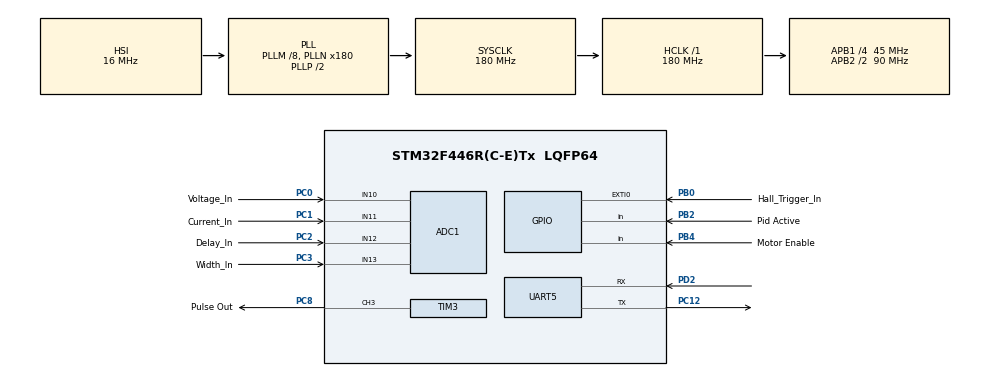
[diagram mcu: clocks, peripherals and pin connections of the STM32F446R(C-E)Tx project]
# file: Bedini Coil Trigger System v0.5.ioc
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ADC1.Channel-0\#ChannelRegularConversion=ADC_CHANNEL_10
ADC1.Channel-1\#ChannelRegularConversion=ADC_CHANNEL_11
ADC1.Channel-2\#ChannelRegularConversion=ADC_CHANNEL_12
ADC1.Channel-3\#ChannelRegularConversion=ADC_CHANNEL_13
ADC1.ContinuousConvMode=DISABLE
ADC1.NbrOfConversion=4
ADC1.NbrOfConversionFlag=1
ADC1.Rank-0\#ChannelRegularConversion=1
ADC1.Rank-1\#ChannelRegularConversion=2
ADC1.Rank-2\#ChannelRegularConversion=3
ADC1.Rank-3\#ChannelRegularConversion=4
ADC1.SamplingTime-0\#ChannelRegularConversion=ADC_SAMPLETIME_112CYCLES
ADC1.SamplingTime-1\#ChannelRegularConversion=ADC_SAMPLETIME_84CYCLES
ADC1.SamplingTime-2\#ChannelRegularConversion=ADC_SAMPLETIME_84CYCLES
ADC1.SamplingTime-3\#ChannelRegularConversion=ADC_SAMPLETIME_84CYCLES
ADC1.ScanConvMode=ENABLE
ADC1.master=1
Dma.ADC1.0.Direction=DMA_PERIPH_TO_MEMORY
Dma.ADC1.0.FIFOMode=DMA_FIFOMODE_DISABLE
Dma.ADC1.0.Instance=DMA2_Stream0
Dma.ADC1.0.MemDataAlignment=DMA_MDATAALIGN_WORD
Dma.ADC1.0.MemInc=DMA_MINC_ENABLE
Dma.ADC1.0.Mode=DMA_CIRCULAR
Dma.ADC1.0.PeriphDataAlignment=DMA_PDATAALIGN_WORD
Dma.ADC1.0.PeriphInc=DMA_PINC_DISABLE
Dma.ADC1.0.Priority=DMA_PRIORITY_MEDIUM
Dma.Request0=ADC1
Mcu.Family=STM32F4
Mcu.Name=STM32F446R(C-E)Tx
Mcu.Package=LQFP64
NVIC.DMA2_Stream0_IRQn=true\:0\:0\:true\:false\:true\:false\:true\:true
NVIC.EXTI0_IRQn=true\:0\:0\:true\:false\:true\:true\:true\:true
NVIC.PriorityGroup=NVIC_PRIORITYGROUP_4
NVIC.TIM2_IRQn=true\:0\:0\:false\:false\:true\:true\:true\:true
NVIC.TIM3_IRQn=true\:0\:0\:false\:false\:true\:true\:true\:true
NVIC.UART5_IRQn=true\:0\:0\:true\:false\:true\:true\:true\:true
PB0.GPIO_Label=Hall_Trigger_In
PB0.GPIO_ModeDefaultEXTI=GPIO_MODE_IT_RISING
PB0.GPIO_PuPd=GPIO_NOPULL
PB0.Signal=GPXTI0
PB2.GPIO_Label=Pid Active
PB2.GPIO_PuPd=GPIO_PULLUP
PB2.Signal=GPIO_Input
PB4.GPIO_Label=Motor Enable
PB4.GPIO_PuPd=GPIO_PULLUP
PB4.Signal=GPIO_Input
PC0.GPIO_Label=Voltage_In
PC0.Signal=ADCx_IN10
PC1.GPIO_Label=Current_In
PC1.Signal=ADCx_IN11
PC12.Mode=Asynchronous
PC12.Signal=UART5_TX
PC2.GPIO_Label=Delay_In
PC2.Signal=ADCx_IN12
PC3.GPIO_Label=Width_In
PC3.Signal=ADCx_IN13
PC8.GPIO_Label=Pulse Out
PC8.GPIO_Speed=GPIO_SPEED_FREQ_VERY_HIGH
PC8.Signal=S_TIM3_CH3
PD2.Mode=Asynchronous
PD2.Signal=UART5_RX
ProjectManager.HeapSize=0x200
ProjectManager.StackSize=0x400
ProjectManager.TargetToolchain=MDK-ARM V5.32
RCC.AHBFreq_Value=180000000
RCC.APB1CLKDivider=RCC_HCLK_DIV4
RCC.APB1Freq_Value=45000000
RCC.APB1TimFreq_Value=90000000
RCC.APB2CLKDivider=RCC_HCLK_DIV2
RCC.APB2Freq_Value=90000000
RCC.APB2TimFreq_Value=180000000
RCC.CortexFreq_Value=180000000
RCC.HCLKFreq_Value=180000000
RCC.PLLM=8
RCC.PLLN=180
RCC.SYSCLKFreq_VALUE=180000000
RCC.SYSCLKSource=RCC_SYSCLKSOURCE_PLLCLK
RCC.USBFreq_Value=180000000
RCC.VCOOutputFreq_Value=360000000
SH.ADCx_IN10.0=ADC1_IN10,IN10
SH.ADCx_IN10.1=ADC2_IN10
SH.ADCx_IN11.0=ADC2_IN11
SH.ADCx_IN11.1=ADC1_IN11,IN11
SH.ADCx_IN12.0=ADC2_IN12
SH.ADCx_IN12.1=ADC1_IN12,IN12
SH.ADCx_IN13.0=ADC2_IN13
SH.ADCx_IN13.1=ADC1_IN13,IN13
SH.S_TIM3_CH3.0=TIM3_CH3,PWM Generation3 CH3
TIM2.Channel-Output\ Compare1\ No\ Output=TIM_CHANNEL_1
TIM2.OCMode_1=TIM_OCMODE_ACTIVE
TIM2.Period=4294967
TIM2.Prescaler=180-1
TIM2.TIM_MasterOutputTrigger=TIM_TRGO_OC1
TIM2.TIM_MasterSlaveMode=TIM_MASTERSLAVEMODE_ENABLE
TIM3.Channel-PWM\ Generation3\ CH3=TIM_CHANNEL_3
TIM3.OCPolarity_3=TIM_OCPOLARITY_LOW
TIM3.Period=10
TIM3.Prescaler=180-1
TIM3.Pulse-PWM\ Generation3\ CH3=1
UART5.VirtualMode=Asynchronous
VP_TIM2_VS_ClockSourceINT.Mode=Internal
VP_TIM2_VS_OPM.Mode=OPM_bit
VP_TIM2_VS_no_output1.Mode=Output Compare1 No Output
VP_TIM3_VS_ClockSourceINT.Mode=Internal
VP_TIM3_VS_ClockSourceITR.Mode=TriggerSource_ITR0
VP_TIM3_VS_ControllerModeTrigger.Mode=Trigger Mode
VP_TIM3_VS_OPM.Mode=OPM_bit
board=custom

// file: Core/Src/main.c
/* USER CODE BEGIN Header */
	/**
		******************************************************************************
		* @file           : main.c
		* @brief          : Main program body
		******************************************************************************
		* @attention
		*
		* Copyright (c) 2022 STMicroelectronics.
		* All rights reserved.
		*
		* This software is licensed under terms that can be found in the LICENSE file
		* in the root directory of this software component.
		* If no LICENSE file comes with this software, it is provided AS-IS.
		*
		******************************************************************************
		*/
/* USER CODE END Header */
#include "main.h"

/* USER CODE BEGIN Includes */
	#include <stdlib.h>

/* USER CODE END Includes */

ADC_HandleTypeDef hadc1;
DMA_HandleTypeDef hdma_adc1;

TIM_HandleTypeDef htim2;
TIM_HandleTypeDef htim3;

UART_HandleTypeDef huart5;

/* USER CODE BEGIN PV */
	// Calculation Settings
	const float voltageR1 = 100000.0;
	const float voltageR2 = 5656.0;
	const uint32_t MAX_BATTERY_VOLTAGE = ((((voltageR1 + voltageR2) / voltageR2) * 3.3) * 100.0); // ~3.3 volt = (100k -> 5k) = resolution of ~mV
	const uint32_t MAX_BATTERY_CURRENT = 1000000; // to be calculated in uA
	const uint32_t MAX_PULSE_DELAY = 5000; // some value making 1 = 1 uS
	const uint32_t MAX_PULSE_WIDTH = 5000; // some value making 1 = 1 uS
	const uint32_t STEP_MULTIPLIER_DELAY = 1;
	const uint32_t STEP_MULTIPLIER_WIDTH = 1;

	// Pulse motor settings
	const int MAGNETS_ON_ROTOR = 10;
	volatile uint32_t rpmSetPulse = 1500;
	volatile int modeWidthPulse = 0;
	volatile int modeDelayPulse = 0;

	int bandwidthPid = 10;

	//PID constants
	double kp = 10.0;
	double ki = 0.0001;
	double kd = 3.0;

	float error;
	float lastError;
	float cumError, rateError;

	int PID_MIN = 1;
	int PID_MAX = 150;

	uint32_t ANALOG_CYCLE_COUNTER = 1000;

	// Analog Inputs
	const int SHIFT_ARRAY = 20;
	const int VOLTAGE_SHIFT = 5;
	const int CURRENT_SHIFT = 5;
	const int DELAY_SHIFT = 20;
	const int WIDTH_SHIFT = 20;
	volatile uint32_t analogInputs[4];
	volatile uint32_t analogInAvg[SHIFT_ARRAY][4];
	const int analogChCounts = sizeof ( analogInputs) / sizeof (analogInputs[0]);
	volatile int analogConvComplete = 0;
	uint32_t prevTimerAnalogCount;

	// Proram Vars
	volatile uint32_t	multiplierPid;
	volatile uint32_t delayPulse = 0;
	volatile uint32_t widthPulse = 0;
	int MAX_COMPARE_PULSE = 10;
	const int MAXSET_COMPARE_PULSE = 20;
	volatile uint32_t comparePulse[MAXSET_COMPARE_PULSE];
	volatile uint32_t comparePulseAvg;
	volatile uint32_t rpmPulse = 0;
	volatile int multiplierPulse = 100;
	volatile uint32_t voltageAvgCalc;
	volatile uint32_t currentAvgCalc;
	volatile uint32_t delayAvgCalc;
	volatile uint32_t widthAvgCalc;
	volatile uint32_t voltageAvg;
	volatile uint32_t currentAvg;
	volatile uint32_t delayAvg;
	volatile uint32_t widthAvg;
	volatile uint32_t voltageBattery = 0;
	volatile uint32_t currentBattery = 0;
	volatile int pulseTrigger;
	volatile int motorRunState = 0;
	volatile uint32_t comparePulseAvgTemp;
	volatile uint32_t totalPulseTime;

	const uint32_t DATA_CYCLE_COUNTER = 500;

	// uart data stuf
	uint32_t dataCounter;
	uint8_t data1[8];
	uint32_t prevTimerDataCount;
	uint8_t Rx_data[16];
	uint8_t dataCommand;

	// Serial vars
	int SerialEnable;
	int enablePulseSerial;
	int analogValueMode;
	int modeWidthPulseSerial;
	int modeDelayPulseSerial;
	uint32_t pulseWidthSerial;
	uint32_t delayPulseSerial;

	int pidEnabledSerial;
	uint32_t pidProportionalSerial;
	uint32_t pidIntegralSerial;
	uint32_t pidDerevitiveSerial;
	double pidSetProportionalSerial;
	double pidSetIntegralSerial;
	double pidSetDerevitiveSerial;
	uint32_t minTunePidSerial;
	uint32_t maxTunePidSerial;
	uint32_t rpmPulseSerial;

/* USER CODE END PV */

void SystemClock_Config(void);
static void MX_GPIO_Init(void);
static void MX_DMA_Init(void);
static void MX_ADC1_Init(void);
static void MX_UART5_Init(void);
static void MX_TIM3_Init(void);
static void MX_TIM2_Init(void);
/* USER CODE BEGIN PFP */

		void runPID(void);

	void handleMotorRunstate(void);
	void readAnalogConversion(void);
		void readBusConversion(void);
	void uartDataReceive(void);
	void uartDataTransmit(void);
/* USER CODE END PFP */

int main(void)
{

  /* MCU Configuration--------------------------------------------------------*/

  /* Reset of all peripherals, Initializes the Flash interface and the Systick. */
  HAL_Init();

  /* Configure the system clock */
  SystemClock_Config();

  /* Initialize all configured peripherals */
  MX_GPIO_Init();
  MX_DMA_Init();
  MX_ADC1_Init();
  MX_UART5_Init();
  MX_TIM3_Init();
  MX_TIM2_Init();
  /* USER CODE BEGIN 2 */
		// Init reference timer
		HAL_TIM_Base_Start(&htim2);
		// Init uart receive interrupt
		HAL_UART_Receive_IT (&huart5, Rx_data, 15);

		// start a adc poll
		HAL_ADC_Start_DMA(&hadc1, (uint32_t*) analogInputs, analogChCounts);
  /* USER CODE END 2 */

  /* Infinite loop */
		while (1)
		{

    /* USER CODE BEGIN 3 */
			// check if motor is enabled and the motor is in running state
			if(((!(GPIOB->IDR &(1<<4)) && (analogValueMode == 0x00)) || ((analogValueMode == 0x01) && (enablePulseSerial == 0x01))) && (motorRunState == 2)){

				// check if the pulse has passed
				if(pulseTrigger == 2){

					// take 2 pulses and calculate average
					for(int i = (MAX_COMPARE_PULSE - 1); i >= 0; i--){
						comparePulse[i] = comparePulse[(i-1)];
					}

					// save new pulse time
					comparePulse[0] = totalPulseTime;

					//reset pulse avarage
					comparePulseAvgTemp = 0;

					// count all values up
					for(int i = 0; i < (MAX_COMPARE_PULSE); i++){
						comparePulseAvgTemp += comparePulse[i];
					}

					// calculate pulse avarage and rpm if > 0
					if (comparePulseAvgTemp > 0){
						comparePulseAvg = (float)comparePulseAvgTemp / (float)MAX_COMPARE_PULSE;
						rpmPulse = (((1000000.0 / (float)comparePulseAvg) * 60.0) / (float)MAGNETS_ON_ROTOR);
					}
					else{
						rpmPulse = 0;
					}

					// PID
					if(((!(GPIOB->IDR &(1<<2))) && (analogValueMode  == 0x00)) || ((analogValueMode == 0x01) && (pidEnabledSerial == 0x01))){
						runPID();
					}
					else{
						multiplierPid = 150;
					}

					// reset pulse state
					pulseTrigger = 0;
				}

			}

			// read analog, do pid, handle motor state ever x cyclus time
			if( /*pulseTrigger == 0 &&*/ (TIM2->CNT >= (prevTimerAnalogCount + ANALOG_CYCLE_COUNTER))){

				// set new cycle time
				prevTimerAnalogCount = TIM2->CNT;

				// Handle Analog Values
				if(analogConvComplete == 1){
					if(analogValueMode == 0x01){
						readBusConversion();
					}
					else{
						readAnalogConversion();
					}
				}
			}

			// check max timer value
			if((prevTimerAnalogCount > (comparePulse[0] - ANALOG_CYCLE_COUNTER)) || (prevTimerAnalogCount > (4294966 - ANALOG_CYCLE_COUNTER))){
				prevTimerAnalogCount = 0;
			}

			// Handle motor runstate
			handleMotorRunstate();

		}
  /* USER CODE END 3 */
}

void SystemClock_Config(void)
{
  RCC_OscInitTypeDef RCC_OscInitStruct = {0};
  RCC_ClkInitTypeDef RCC_ClkInitStruct = {0};

  /** Configure the main internal regulator output voltage
  */
  __HAL_RCC_PWR_CLK_ENABLE();
  __HAL_PWR_VOLTAGESCALING_CONFIG(PWR_REGULATOR_VOLTAGE_SCALE1);

  /** Initializes the RCC Oscillators according to the specified parameters
  * in the RCC_OscInitTypeDef structure.
  */
  RCC_OscInitStruct.OscillatorType = RCC_OSCILLATORTYPE_HSI;
  RCC_OscInitStruct.HSIState = RCC_HSI_ON;
  RCC_OscInitStruct.HSICalibrationValue = RCC_HSICALIBRATION_DEFAULT;
  RCC_OscInitStruct.PLL.PLLState = RCC_PLL_ON;
  RCC_OscInitStruct.PLL.PLLSource = RCC_PLLSOURCE_HSI;
  RCC_OscInitStruct.PLL.PLLM = 8;
  RCC_OscInitStruct.PLL.PLLN = 180;
  RCC_OscInitStruct.PLL.PLLP = RCC_PLLP_DIV2;
  RCC_OscInitStruct.PLL.PLLQ = 2;
  RCC_OscInitStruct.PLL.PLLR = 2;
  if (HAL_RCC_OscConfig(&RCC_OscInitStruct) != HAL_OK)
  {
    Error_Handler();
  }

  /** Activate the Over-Drive mode
  */
  if (HAL_PWREx_EnableOverDrive() != HAL_OK)
  {
    Error_Handler();
  }

  /** Initializes the CPU, AHB and APB buses clocks
  */
  RCC_ClkInitStruct.ClockType = RCC_CLOCKTYPE_HCLK|RCC_CLOCKTYPE_SYSCLK
                              |RCC_CLOCKTYPE_PCLK1|RCC_CLOCKTYPE_PCLK2;
  RCC_ClkInitStruct.SYSCLKSource = RCC_SYSCLKSOURCE_PLLCLK;
  RCC_ClkInitStruct.AHBCLKDivider = RCC_SYSCLK_DIV1;
  RCC_ClkInitStruct.APB1CLKDivider = RCC_HCLK_DIV4;
  RCC_ClkInitStruct.APB2CLKDivider = RCC_HCLK_DIV2;

  if (HAL_RCC_ClockConfig(&RCC_ClkInitStruct, FLASH_LATENCY_5) != HAL_OK)
  {
    Error_Handler();
  }
}

static void MX_ADC1_Init(void)
{

  ADC_ChannelConfTypeDef sConfig = {0};

  /** Configure the global features of the ADC (Clock, Resolution, Data Alignment and number of conversion)
  */
  hadc1.Instance = ADC1;
  hadc1.Init.ClockPrescaler = ADC_CLOCK_SYNC_PCLK_DIV4;
  hadc1.Init.Resolution = ADC_RESOLUTION_12B;
  hadc1.Init.ScanConvMode = ENABLE;
  hadc1.Init.ContinuousConvMode = DISABLE;
  hadc1.Init.DiscontinuousConvMode = DISABLE;
  hadc1.Init.ExternalTrigConvEdge = ADC_EXTERNALTRIGCONVEDGE_NONE;
  hadc1.Init.ExternalTrigConv = ADC_SOFTWARE_START;
  hadc1.Init.DataAlign = ADC_DATAALIGN_RIGHT;
  hadc1.Init.NbrOfConversion = 4;
  hadc1.Init.DMAContinuousRequests = DISABLE;
  hadc1.Init.EOCSelection = ADC_EOC_SINGLE_CONV;
  if (HAL_ADC_Init(&hadc1) != HAL_OK)
  {
    Error_Handler();
  }

  /** Configure for the selected ADC regular channel its corresponding rank in the sequencer and its sample time.
  */
  sConfig.Channel = ADC_CHANNEL_10;
  sConfig.Rank = 1;
  sConfig.SamplingTime = ADC_SAMPLETIME_112CYCLES;
  if (HAL_ADC_ConfigChannel(&hadc1, &sConfig) != HAL_OK)
  {
    Error_Handler();
  }

  /** Configure for the selected ADC regular channel its corresponding rank in the sequencer and its sample time.
  */
  sConfig.Channel = ADC_CHANNEL_11;
  sConfig.Rank = 2;
  sConfig.SamplingTime = ADC_SAMPLETIME_84CYCLES;
  if (HAL_ADC_ConfigChannel(&hadc1, &sConfig) != HAL_OK)
  {
    Error_Handler();
  }

  /** Configure for the selected ADC regular channel its corresponding rank in the sequencer and its sample time.
  */
  sConfig.Channel = ADC_CHANNEL_12;
  sConfig.Rank = 3;
  if (HAL_ADC_ConfigChannel(&hadc1, &sConfig) != HAL_OK)
  {
    Error_Handler();
  }

  /** Configure for the selected ADC regular channel its corresponding rank in the sequencer and its sample time.
  */
  sConfig.Channel = ADC_CHANNEL_13;
  sConfig.Rank = 4;
  if (HAL_ADC_ConfigChannel(&hadc1, &sConfig) != HAL_OK)
  {
    Error_Handler();
  }

}

static void MX_TIM2_Init(void)
{

  TIM_ClockConfigTypeDef sClockSourceConfig = {0};
  TIM_MasterConfigTypeDef sMasterConfig = {0};
  TIM_OC_InitTypeDef sConfigOC = {0};

  htim2.Instance = TIM2;
  htim2.Init.Prescaler = 180-1;
  htim2.Init.CounterMode = TIM_COUNTERMODE_UP;
  htim2.Init.Period = 4294967;
  htim2.Init.ClockDivision = TIM_CLOCKDIVISION_DIV1;
  htim2.Init.AutoReloadPreload = TIM_AUTORELOAD_PRELOAD_DISABLE;
  if (HAL_TIM_Base_Init(&htim2) != HAL_OK)
  {
    Error_Handler();
  }
  sClockSourceConfig.ClockSource = TIM_CLOCKSOURCE_INTERNAL;
  if (HAL_TIM_ConfigClockSource(&htim2, &sClockSourceConfig) != HAL_OK)
  {
    Error_Handler();
  }
  if (HAL_TIM_OC_Init(&htim2) != HAL_OK)
  {
    Error_Handler();
  }
  if (HAL_TIM_OnePulse_Init(&htim2, TIM_OPMODE_SINGLE) != HAL_OK)
  {
    Error_Handler();
  }
  sMasterConfig.MasterOutputTrigger = TIM_TRGO_OC1;
  sMasterConfig.MasterSlaveMode = TIM_MASTERSLAVEMODE_ENABLE;
  if (HAL_TIMEx_MasterConfigSynchronization(&htim2, &sMasterConfig) != HAL_OK)
  {
    Error_Handler();
  }
  sConfigOC.OCMode = TIM_OCMODE_ACTIVE;
  sConfigOC.Pulse = 0;
  sConfigOC.OCPolarity = TIM_OCPOLARITY_HIGH;
  sConfigOC.OCFastMode = TIM_OCFAST_DISABLE;
  if (HAL_TIM_OC_ConfigChannel(&htim2, &sConfigOC, TIM_CHANNEL_1) != HAL_OK)
  {
    Error_Handler();
  }

}

static void MX_TIM3_Init(void)
{

  TIM_ClockConfigTypeDef sClockSourceConfig = {0};
  TIM_SlaveConfigTypeDef sSlaveConfig = {0};
  TIM_MasterConfigTypeDef sMasterConfig = {0};
  TIM_OC_InitTypeDef sConfigOC = {0};

  htim3.Instance = TIM3;
  htim3.Init.Prescaler = 180-1;
  htim3.Init.CounterMode = TIM_COUNTERMODE_UP;
  htim3.Init.Period = 10;
  htim3.Init.ClockDivision = TIM_CLOCKDIVISION_DIV1;
  htim3.Init.AutoReloadPreload = TIM_AUTORELOAD_PRELOAD_DISABLE;
  if (HAL_TIM_Base_Init(&htim3) != HAL_OK)
  {
    Error_Handler();
  }
  sClockSourceConfig.ClockSource = TIM_CLOCKSOURCE_INTERNAL;
  if (HAL_TIM_ConfigClockSource(&htim3, &sClockSourceConfig) != HAL_OK)
  {
    Error_Handler();
  }
  if (HAL_TIM_PWM_Init(&htim3) != HAL_OK)
  {
    Error_Handler();
  }
  if (HAL_TIM_OnePulse_Init(&htim3, TIM_OPMODE_SINGLE) != HAL_OK)
  {
    Error_Handler();
  }
  sSlaveConfig.SlaveMode = TIM_SLAVEMODE_TRIGGER;
  sSlaveConfig.InputTrigger = TIM_TS_ITR0;
  if (HAL_TIM_SlaveConfigSynchro(&htim3, &sSlaveConfig) != HAL_OK)
  {
    Error_Handler();
  }
  sMasterConfig.MasterOutputTrigger = TIM_TRGO_RESET;
  sMasterConfig.MasterSlaveMode = TIM_MASTERSLAVEMODE_DISABLE;
  if (HAL_TIMEx_MasterConfigSynchronization(&htim3, &sMasterConfig) != HAL_OK)
  {
    Error_Handler();
  }
  sConfigOC.OCMode = TIM_OCMODE_PWM1;
  sConfigOC.Pulse = 1;
  sConfigOC.OCPolarity = TIM_OCPOLARITY_LOW;
  sConfigOC.OCFastMode = TIM_OCFAST_DISABLE;
  if (HAL_TIM_PWM_ConfigChannel(&htim3, &sConfigOC, TIM_CHANNEL_3) != HAL_OK)
  {
    Error_Handler();
  }
  /* USER CODE BEGIN TIM3_Init 2 */

		TIM_CCxChannelCmd(htim3.Instance, TIM_CHANNEL_3,TIM_CCx_ENABLE);
		__HAL_TIM_CLEAR_IT(&htim3, TIM_IT_UPDATE);
		__HAL_TIM_ENABLE_IT(&htim3, TIM_IT_UPDATE);

  /* USER CODE END TIM3_Init 2 */
  HAL_TIM_MspPostInit(&htim3);

}

static void MX_UART5_Init(void)
{

  /* USER CODE BEGIN UART5_Init 1 */
		//11500 for serial and wifi
		//38400 for bluetooth
  /* USER CODE END UART5_Init 1 */
  huart5.Instance = UART5;
  huart5.Init.BaudRate = 115200;
  huart5.Init.WordLength = UART_WORDLENGTH_8B;
  huart5.Init.StopBits = UART_STOPBITS_1;
  huart5.Init.Parity = UART_PARITY_NONE;
  huart5.Init.Mode = UART_MODE_TX_RX;
  huart5.Init.HwFlowCtl = UART_HWCONTROL_NONE;
  huart5.Init.OverSampling = UART_OVERSAMPLING_16;
  if (HAL_UART_Init(&huart5) != HAL_OK)
  {
    Error_Handler();
  }

}

static void MX_DMA_Init(void)
{

  /* DMA controller clock enable */
  __HAL_RCC_DMA2_CLK_ENABLE();

  /* DMA interrupt init */
  /* DMA2_Stream0_IRQn interrupt configuration */
  HAL_NVIC_SetPriority(DMA2_Stream0_IRQn, 0, 0);
  HAL_NVIC_EnableIRQ(DMA2_Stream0_IRQn);

}

static void MX_GPIO_Init(void)
{
  GPIO_InitTypeDef GPIO_InitStruct = {0};

  /* GPIO Ports Clock Enable */
  __HAL_RCC_GPIOC_CLK_ENABLE();
  __HAL_RCC_GPIOB_CLK_ENABLE();
  __HAL_RCC_GPIOD_CLK_ENABLE();

  /*Configure GPIO pins : Voltage_In_Pin Current_In_Pin Delay_In_Pin Width_In_Pin */
  GPIO_InitStruct.Pin = Voltage_In_Pin|Current_In_Pin|Delay_In_Pin|Width_In_Pin;
  GPIO_InitStruct.Mode = GPIO_MODE_ANALOG;
  GPIO_InitStruct.Pull = GPIO_NOPULL;
  HAL_GPIO_Init(GPIOC, &GPIO_InitStruct);

  /*Configure GPIO pin : Hall_Trigger_In_Pin */
  GPIO_InitStruct.Pin = Hall_Trigger_In_Pin;
  GPIO_InitStruct.Mode = GPIO_MODE_IT_RISING;
  GPIO_InitStruct.Pull = GPIO_NOPULL;
  HAL_GPIO_Init(Hall_Trigger_In_GPIO_Port, &GPIO_InitStruct);

  /*Configure GPIO pins : Pid_Active_Pin Motor_Enable_Pin */
  GPIO_InitStruct.Pin = Pid_Active_Pin|Motor_Enable_Pin;
  GPIO_InitStruct.Mode = GPIO_MODE_INPUT;
  GPIO_InitStruct.Pull = GPIO_PULLUP;
  HAL_GPIO_Init(GPIOB, &GPIO_InitStruct);

  /* EXTI interrupt init*/
  HAL_NVIC_SetPriority(EXTI0_IRQn, 0, 0);
  HAL_NVIC_EnableIRQ(EXTI0_IRQn);

}

/* USER CODE BEGIN 4 */
	void HAL_ADC_ConvCpltCallback(ADC_HandleTypeDef *hadc){
		analogConvComplete = 1;

		// start a adc poll
		HAL_ADC_Start_DMA(&hadc1, (uint32_t*) analogInputs, analogChCounts);
	}

	void readBusConversion(){

		// start a adc poll
		//HAL_ADC_Start_DMA(&hadc1, (uint32_t*) analogInputs, analogChCounts);

		// hold program till conversion is complete
		//while(analogConvComplete == 0){			}

		// reset analog conversion flag
		analogConvComplete = 0;

		analogInAvg[0][0] = analogInputs[0];
		analogInAvg[0][1] = analogInputs[1];

		// shift analog input array
		for(int i = (SHIFT_ARRAY - 1);i >= 0;i--){
			for(int ii = 0;ii <= 1;ii++){
				analogInAvg[i][ii] = analogInAvg[(i-1)][ii];
			}
		}

		// reset voltage average
		voltageAvgCalc = 0;

		// add all voltage registers together
		for(int i = 0; i < (VOLTAGE_SHIFT); i++){
			voltageAvgCalc += analogInAvg[i][0];
		}

		// divide by the registers
		voltageAvg = voltageAvgCalc / VOLTAGE_SHIFT;

		// reset current average
		currentAvgCalc = 0;

		// add all current registers together
		for(int i = 0; i < (CURRENT_SHIFT); i++){
			currentAvgCalc += analogInAvg[i][1];
		}

		// divide by the registers
		currentAvg = currentAvgCalc / CURRENT_SHIFT;

		// calculate battery voltage
		if (voltageAvg > 0){
			voltageBattery = (((float)MAX_BATTERY_VOLTAGE / 4095.0) * (float)voltageAvg); // to be verified
		}
		else{
			voltageBattery = 0;
		}

		// calculate battery current
		if (currentAvg > 0){
			currentBattery = (((float)MAX_BATTERY_CURRENT / 4095.0) * (float)currentAvg); // to be verified
		}
		else{
			currentBattery = 0;
		}

		// calculate delay pulse
		// select pulse delay mode
		if(modeDelayPulse == 1){
			delayPulse = ((((float)MAX_PULSE_DELAY / 4095.0) * (float)delayPulseSerial) * (float)STEP_MULTIPLIER_DELAY);//analogInputs[2]); // to be verified 1000 = 1mS  * multiplier
		}
		else{
			delayPulse =(((float) comparePulseAvg / 1000.0) * ((900.0 / 4095.0) * (float)delayPulseSerial)); // rpm percentage delay
		}

		// select pulse width mode
		if(modeWidthPulse == 1){
			// timed width
			widthPulse = ((((float)MAX_PULSE_WIDTH / 4095.0) * (float)pulseWidthSerial) * (float)multiplierPid); // to be verified 1000 = 1mS  * multiplier
		}
		else{
			// duty cycle
			widthPulse = (((float)comparePulseAvg / 10000.0) * ((5000.0 / 4095.0) * (((float)pulseWidthSerial / 100.0) * (float)multiplierPid)));//(float) analogInputs[3])); // 0-50% duty cycle
		}
	}

	void HAL_UART_RxCpltCallback(UART_HandleTypeDef *huart) {

		uartDataReceive();

		__HAL_UART_CLEAR_OREFLAG(huart);
		huart->ErrorCode |= HAL_UART_ERROR_ORE;

		HAL_UART_Receive_IT(&huart5, Rx_data, 15);
		//HAL_UART_Receive_IT(&huart5, Rx_data, 15);
		//dataCommand = 1;
	}

	void uartDataReceive(){
		int start = 0;
		for(int i = 0; i <= 15; i++){
			if ((Rx_data[i] == 0x80) || (Rx_data[i] == 0x70)){
				start = i;
			}
		}
		// if the uart command was a register write action
		if(Rx_data[start] == 0x80){
			switch(Rx_data[(start + 1)]){
				case 0x01: // enable bus control
					analogValueMode = Rx_data[(start + 5)]; // 0=analog 1=busvalue
					data1[start]= 0x80;
					data1[1]= 0x01;
					data1[2]=0x00;
					data1[3]=0x00;
					data1[4]=0x00;
					data1[5]=(analogValueMode);
					data1[6]=0x11;
					data1[7]=0x12;
					HAL_UART_Transmit(&huart5,data1,sizeof(data1),10);
					break;

				case 0x02: // enable motor
					enablePulseSerial = Rx_data[(start + 5)];
					data1[0]= 0x80;
					data1[1]= 0x02;
					data1[2]=0x00;
					data1[3]=0x00;
					data1[4]=0x00;
					data1[5]=(enablePulseSerial);
					data1[6]=0x11;
					data1[7]=0x12;
					HAL_UART_Transmit(&huart5,data1,sizeof(data1),10);
					break;

				case 0x03: // enable pid
					pidEnabledSerial = Rx_data[(start + 5)]; // 0= disabled 1=standard coded pid values 2=bus controlled pid values
					data1[0]= 0x80;
					data1[1]= 0x03;
					data1[2]=0x00;
					data1[3]=0x00;
					data1[4]=0x00;
					data1[5]=(pidEnabledSerial);
					data1[6]=0x11;
					data1[7]=0x12;
					HAL_UART_Transmit(&huart5,data1,sizeof(data1),10);
					break;

				case 0x05: // set rpm
					rpmPulseSerial = (Rx_data[(start + 2)] << 24) | (Rx_data[(start + 3)] << 16) | (Rx_data[(start + 4)] << 8) | (Rx_data[(start + 5)]);
					data1[0]= 0x80;
					data1[1]= 0x05;
					data1[2]=(rpmPulseSerial >> 24);
					data1[3]=(rpmPulseSerial >> 16);
					data1[4]=(rpmPulseSerial >> 8);
					data1[5]=(rpmPulseSerial);
					data1[6]=0x11;
					data1[7]=0x12;
					HAL_UART_Transmit(&huart5,data1,sizeof(data1),10);
					break;

				case 0x06: // set mode width pulse
					modeWidthPulseSerial = Rx_data[(start + 5)];
					data1[0]= 0x80;
					data1[1]= 0x06;
					data1[2]=0x00;
					data1[3]=0x00;
					data1[4]=0x00;
					data1[5]=(modeWidthPulseSerial);
					data1[6]=0x11;
					data1[7]=0x12;
					HAL_UART_Transmit(&huart5,data1,sizeof(data1),10);
					break;

				case 0x07: // set mode delay pulse
					modeDelayPulseSerial = Rx_data[(start + 5)];
					data1[0]= 0x80;
					data1[1]= 0x07;
					data1[2]=0x00;
					data1[3]=0x00;
					data1[4]=0x00;
					data1[5]=(modeDelayPulseSerial);
					data1[6]=0x11;
					data1[7]=0x12;
					HAL_UART_Transmit(&huart5,data1,sizeof(data1),10);
					break;

				case 0x40: // set pulse width
					pulseWidthSerial = (Rx_data[(start + 2)] << 24) | (Rx_data[(start + 3)] << 16) | (Rx_data[(start + 4)] << 8) | (Rx_data[(start + 5)]);
					data1[0]= 0x80;
					data1[1]= 0x40;
					data1[2]=(pulseWidthSerial >> 24);
					data1[3]=(pulseWidthSerial >> 16);
					data1[4]=(pulseWidthSerial >> 8);
					data1[5]=(pulseWidthSerial);
					data1[6]=0x11;
					data1[7]=0x12;
					HAL_UART_Transmit(&huart5,data1,sizeof(data1),10);
					break;

				case 0x50: // set delay pulse
					delayPulseSerial = (Rx_data[(start + 2)] << 24) | (Rx_data[(start + 3)] << 16) | (Rx_data[(start + 4)] << 8) | (Rx_data[(start + 5)]);
					data1[0]= 0x80;
					data1[1]= 0x50;
					data1[2]=(delayPulseSerial >> 24);
					data1[3]=(delayPulseSerial >> 16);
					data1[4]=(delayPulseSerial >> 8);
					data1[5]=(delayPulseSerial);
					data1[6]=0x11;
					data1[7]=0x12;
					HAL_UART_Transmit(&huart5,data1,sizeof(data1),10);
					break;

				case 0x60: // set pid proportional
					pidProportionalSerial = (Rx_data[(start + 2)] << 24) | (Rx_data[(start + 3)] << 16) | (Rx_data[(start + 4)] << 8) | (Rx_data[(start + 5)]);
					pidSetProportionalSerial = (double)pidProportionalSerial / 10000.0;
					pidProportionalSerial = pidSetProportionalSerial * 10000;
					data1[0]= 0x80;
					data1[1]= 0x60;
					data1[2]=(pidProportionalSerial >> 24);
					data1[3]=(pidProportionalSerial >> 16);
					data1[4]=(pidProportionalSerial >> 8);
					data1[5]=(pidProportionalSerial);
					data1[6]=0x11;
					data1[7]=0x12;
					HAL_UART_Transmit(&huart5,data1,sizeof(data1),10);
					break;

				case 0x61: // set pid integral
					pidIntegralSerial = (Rx_data[(start + 2)] << 24) | (Rx_data[(start + 3)] << 16) | (Rx_data[(start + 4)] << 8) | (Rx_data[(start + 5)]);
					pidSetIntegralSerial = (double)pidIntegralSerial / 10000.0;
					pidIntegralSerial = pidSetIntegralSerial * 10000;
					data1[0]= 0x80;
					data1[1]= 0x61;
					data1[2]=(pidIntegralSerial >> 24);
					data1[3]=(pidIntegralSerial >> 16);
					data1[4]=(pidIntegralSerial >> 8);
					data1[5]=(pidIntegralSerial);
					data1[6]=0x11;
					data1[7]=0x12;
					HAL_UART_Transmit(&huart5,data1,sizeof(data1),10);
					break;

				case 0x62: // set pid derevitive
					pidDerevitiveSerial = (Rx_data[(start + 2)] << 24) | (Rx_data[(start + 3)] << 16) | (Rx_data[(start + 4)] << 8) | (Rx_data[(start + 5)]);
					pidSetDerevitiveSerial = (double)pidDerevitiveSerial / 10000.0;
					pidDerevitiveSerial = pidSetDerevitiveSerial * 10000;
					data1[0]= 0x80;
					data1[1]= 0x62;
					data1[2]=(pidDerevitiveSerial >> 24);
					data1[3]=(pidDerevitiveSerial >> 16);
					data1[4]=(pidDerevitiveSerial >> 8);
					data1[5]=(pidDerevitiveSerial);
					data1[6]=0x11;
					data1[7]=0x12;
					HAL_UART_Transmit(&huart5,data1,sizeof(data1),10);
					break;

				case 0x63: // set pid min tune
					minTunePidSerial = (Rx_data[(start + 2)] << 24) | (Rx_data[(start + 3)] << 16) | (Rx_data[(start + 4)] << 8) | (Rx_data[(start + 5)]);
					data1[0]= 0x80;
					data1[1]= 0x63;
					data1[2]=(minTunePidSerial >> 24);
					data1[3]=(minTunePidSerial >> 16);
					data1[4]=(minTunePidSerial >> 8);
					data1[5]=(minTunePidSerial);
					data1[6]=0x11;
					data1[7]=0x12;
					HAL_UART_Transmit(&huart5,data1,sizeof(data1),10);
					break;

				case 0x64: // set pid max tune
					maxTunePidSerial = (Rx_data[(start + 2)] << 24) | (Rx_data[(start + 3)] << 16) | (Rx_data[(start + 4)] << 8) | (Rx_data[(start + 5)]);
					data1[0]= 0x80;
					data1[1]= 0x64;
					data1[2]=(maxTunePidSerial >> 24);
					data1[3]=(maxTunePidSerial >> 16);
					data1[4]=(maxTunePidSerial >> 8);
					data1[5]=(maxTunePidSerial);
					data1[6]=0x11;
					data1[7]=0x12;
					HAL_UART_Transmit(&huart5,data1,sizeof(data1),10);
					break;
			}
		}
		else if(Rx_data[start] == 0x70){ // read action on the bus
			switch(Rx_data[(start + 1)]){
				case 0x01: // enable bus control
					data1[0]= 0x70;
					data1[1]= 0x01;
					data1[2]=0x00;
					data1[3]=0x00;
					data1[4]=0x00;
					data1[5]=(analogValueMode);
					data1[6]=0x11;
					data1[7]=0x12;
					HAL_UART_Transmit(&huart5,data1,sizeof(data1),10);
					break;

				case 0x02: // enable motor
					data1[0]= 0x70;
					data1[1]= 0x02;
					data1[2]=0x00;
					data1[3]=0x00;
					data1[4]=0x00;
					data1[5]=(enablePulseSerial);
					data1[6]=0x11;
					data1[7]=0x12;
					HAL_UART_Transmit(&huart5,data1,sizeof(data1),10);
					break;

				case 0x03: // enable pid
					//pidEnabledSerial = Rx_data[2]; // 0= disabled 1=standard coded pid values 2=bus controlled pid values
					data1[0]= 0x70;
					data1[1]= 0x03;
					data1[2]=0x00;
					data1[3]=0x00;
					data1[4]=0x00;
					data1[5]=(pidEnabledSerial);
					data1[6]=0x11;
					data1[7]=0x12;
					HAL_UART_Transmit(&huart5,data1,sizeof(data1),10);
					break;

				case 0x05: // set rpm
					data1[0]= 0x70;
					data1[1]= 0x05;
					data1[2]=(rpmPulseSerial >> 24);
					data1[3]=(rpmPulseSerial >> 16);
					data1[4]=(rpmPulseSerial >> 8);
					data1[5]=(rpmPulseSerial);
					data1[6]=0x11;
					data1[7]=0x12;
					HAL_UART_Transmit(&huart5,data1,sizeof(data1),10);
					break;

				case 0x06: // set mode width pulse
					data1[0]= 0x70;
					data1[1]= 0x06;
					data1[2]=0x00;
					data1[3]=0x00;
					data1[4]=0x00;
					data1[5]=(modeWidthPulseSerial);
					data1[6]=0x11;
					data1[7]=0x12;
					HAL_UART_Transmit(&huart5,data1,sizeof(data1),10);
					break;

				case 0x07: // set mode delay pulse
					data1[0]= 0x70;
					data1[1]= 0x07;
					data1[2]=0x00;
					data1[3]=0x00;
					data1[4]=0x00;
					data1[5]=(modeDelayPulseSerial);
					data1[6]=0x11;
					data1[7]=0x12;
					HAL_UART_Transmit(&huart5,data1,sizeof(data1),10);
					break;

				case 0x10: // voltage
					data1[0]= 0x70;
					data1[1]= 0x10;
					data1[2]=(voltageBattery >> 24);
					data1[3]=(voltageBattery >> 16);
					data1[4]=(voltageBattery >> 8);
					data1[5]=(voltageBattery);
					data1[6]=0x11;
					data1[7]=0x12;
					HAL_UART_Transmit(&huart5,data1,sizeof(data1),10);
					break;

				case 0x20: // current
					data1[0]= 0x70;
					data1[1]= 0x20;
					data1[2]=(currentBattery >> 24);
					data1[3]=(currentBattery >> 16);
					data1[4]=(currentBattery >> 8);
					data1[5]=(currentBattery);
					data1[6]=0x11;
					data1[7]=0x12;
					HAL_UART_Transmit(&huart5,data1,sizeof(data1),10);
					break;

				case 0x30: // motor rpm
					data1[0]= 0x70;
					data1[1]= 0x30;
					data1[2]=(rpmPulse >> 24);
					data1[3]=(rpmPulse >> 16);
					data1[4]=(rpmPulse >> 8);
					data1[5]=(rpmPulse);
					data1[6]=0x11;
					data1[7]=0x12;
					HAL_UART_Transmit(&huart5,data1,sizeof(data1),10);
					break;

				case 0x40: // set pulse width
					data1[0]= 0x70;
					data1[1]= 0x40;
					data1[2]=(pulseWidthSerial >> 24);
					data1[3]=(pulseWidthSerial >> 16);
					data1[4]=(pulseWidthSerial >> 8);
					data1[5]=(pulseWidthSerial);
					data1[6]=0x11;
					data1[7]=0x12;
					HAL_UART_Transmit(&huart5,data1,sizeof(data1),10);
					break;

				case 0x50: // set delay pulse
					delayPulseSerial = (Rx_data[2] << 24) | (Rx_data[3] << 16) | (Rx_data[4] << 8) | (Rx_data[5]);
					data1[0]= 0x80;
					data1[1]= 0x50;
					data1[2]=(delayPulseSerial >> 24);
					data1[3]=(delayPulseSerial >> 16);
					data1[4]=(delayPulseSerial >> 8);
					data1[5]=(delayPulseSerial);
					data1[6]=0x11;
					data1[7]=0x12;
					HAL_UART_Transmit(&huart5,data1,sizeof(data1),10);
					break;

				case 0x60: // set pid proportional
					data1[0]= 0x80;
					data1[1]= 0x60;
					data1[2]=((pidProportionalSerial * 10000) >> 24);
					data1[3]=((pidProportionalSerial * 10000) >> 16);
					data1[4]=((pidProportionalSerial * 10000) >> 8);
					data1[5]=((pidProportionalSerial * 10000));
					data1[6]=0x11;
					data1[7]=0x12;
					HAL_UART_Transmit(&huart5,data1,sizeof(data1),10);
					break;

				case 0x61: // set pid integral
					data1[0]= 0x70;
					data1[1]= 0x61;
					data1[2]=((pidIntegralSerial * 10000) >> 24);
					data1[3]=((pidIntegralSerial * 10000) >> 16);
					data1[4]=((pidIntegralSerial * 10000) >> 8);
					data1[5]=((pidIntegralSerial * 10000));
					data1[6]=0x11;
					data1[7]=0x12;
					HAL_UART_Transmit(&huart5,data1,sizeof(data1),10);
					break;

				case 0x62: // set pid derevitive
					data1[0]= 0x80;
					data1[1]= 0x62;
					data1[2]=((pidDerevitiveSerial * 10000) >> 24);
					data1[3]=((pidDerevitiveSerial * 10000) >> 16);
					data1[4]=((pidDerevitiveSerial * 10000) >> 8);
					data1[5]=((pidDerevitiveSerial * 10000));
					data1[6]=0x11;
					data1[7]=0x12;
					HAL_UART_Transmit(&huart5,data1,sizeof(data1),10);
					break;

				case 0x63: // set pid min tune
					data1[0]= 0x80;
					data1[1]= 0x63;
					data1[2]=(minTunePidSerial >> 24);
					data1[3]=(minTunePidSerial >> 16);
					data1[4]=(minTunePidSerial >> 8);
					data1[5]=(minTunePidSerial);
					data1[6]=0x11;
					data1[7]=0x12;
					HAL_UART_Transmit(&huart5,data1,sizeof(data1),10);
					break;

				case 0x64: // set pid max tune
					data1[0]= 0x80;
					data1[1]= 0x64;
					data1[2]=(maxTunePidSerial >> 24);
					data1[3]=(maxTunePidSerial >> 16);
					data1[4]=(maxTunePidSerial >> 8);
					data1[5]=(maxTunePidSerial);
					data1[6]=0x11;
					data1[7]=0x12;
					HAL_UART_Transmit(&huart5,data1,sizeof(data1),10);
					break;
			}
		}

		// set all databits to 0
		for(int i = 0; i <= 15; i++){
			Rx_data[i] = 0x00;
		}

		// reset the data command flag
			dataCommand = 0;
	}

	void runPID(){

			//if((rpmPulse < (rpmSetPulse + bandwidthPid)) && (rpmPulse > (rpmSetPulse - bandwidthPid))){
			//	cumError = 0;
			//}

		if(pidEnabledSerial == 0x01){
			error = (float)rpmPulseSerial - (float)rpmPulse; // determine error
			cumError += error; // compute integral
			rateError = (error - lastError);
			multiplierPid = (pidSetProportionalSerial)*error + (pidSetIntegralSerial )*cumError + (pidSetDerevitiveSerial )*rateError;
			lastError = error;

			if(multiplierPid > maxTunePidSerial){
				multiplierPid = maxTunePidSerial;
			}
			else if(multiplierPid < minTunePidSerial){
				multiplierPid = minTunePidSerial;
			}

		}
		else{
			error = (float)rpmSetPulse - (float)rpmPulse; // determine error
			cumError += error; // compute integral
			rateError = (error - lastError);
			multiplierPid = kp*error + ki*cumError + kd*rateError;
			lastError = error;

			if(multiplierPid > PID_MAX){
				multiplierPid = PID_MAX;
			}
			else if(multiplierPid < PID_MIN){
				multiplierPid = PID_MIN;
			}
		}
	}

	void handleMotorRunstate(){
		if((((!(GPIOB->IDR &(1<<4))) && (analogValueMode == 0x00)) || ((analogValueMode == 0x01) && (enablePulseSerial == 0x01))) && (motorRunState == 0)){
			error = 0;
			cumError = 0;
			rateError = 0;
			motorRunState = 1;
		}
		else if((((analogValueMode == 0x00) && (!(GPIOB->IDR &(1<<4)))) || ((analogValueMode == 0x01) && (enablePulseSerial == 0x01))) && (motorRunState == 1)){
			TIM3->ARR = 650000;
			__HAL_TIM_ENABLE(&htim3);

			for(int i = (MAX_COMPARE_PULSE - 1); i >= 0; i--){
				comparePulse[i] = comparePulse[(i-1)];
			}

			comparePulseAvg = 0;

			for(int i = 0; i < (MAX_COMPARE_PULSE); i++){
				comparePulseAvg += comparePulse[i];
			}

			comparePulseAvg = (float)comparePulseAvg / (float)MAX_COMPARE_PULSE;

			if(comparePulseAvg > 0){
				rpmPulse = (((1000000.0 / (float)comparePulse[0]) * 60.0) / (float)MAGNETS_ON_ROTOR);
			}
		}
		else if(((((analogValueMode == 0x00) && (!(GPIOB->IDR &(1<<4)))) || ((analogValueMode == 0x01) && (enablePulseSerial == 0x01)))) && (motorRunState == 2)){
			// check if motor is still running
			if(TIM2->CNT > 2000000){
				motorRunState = 0;
				comparePulse[0] = 0;
				rpmPulse = 0;
			}
		}
		else{
			motorRunState = 0;
		}
	}

	void readAnalogConversion(){
		// start a adc poll
		HAL_ADC_Start_DMA(&hadc1, (uint32_t*) analogInputs, analogChCounts);

		// hold program till conversion is complete
		while(analogConvComplete == 0){			}

		// reset analog conversion flag
		analogConvComplete = 0;

		analogInAvg[0][0] = analogInputs[0];
		analogInAvg[0][1] = analogInputs[1];
		analogInAvg[0][2] = analogInputs[2];
		analogInAvg[0][3] = analogInputs[3];

		// shift analog input array
		for(int i = (SHIFT_ARRAY - 1);i >= 0;i--){
			for(int ii = 0;ii <= 3;ii++){
				analogInAvg[i][ii] = analogInAvg[(i-1)][ii];
			}
		}

		// reset voltage average
		voltageAvgCalc = 0;

		// add all voltage registers together
		for(int i = 0; i < (VOLTAGE_SHIFT); i++){
			voltageAvgCalc += analogInAvg[i][0];
		}

		// divide by the registers
		voltageAvg = voltageAvgCalc / VOLTAGE_SHIFT;

		// reset current average
		currentAvgCalc = 0;

		// add all current registers together
		for(int i = 0; i < (CURRENT_SHIFT); i++){
			currentAvgCalc += analogInAvg[i][1];
		}

		// divide by the registers
		currentAvg = currentAvgCalc / CURRENT_SHIFT;

		// reset delay average
		delayAvgCalc = 0;

		// add all delay registers
		for(int i = 0; i < (DELAY_SHIFT); i++){
			delayAvgCalc += analogInAvg[i][2];
		}

		// divide by the registers
		delayAvg = delayAvgCalc / DELAY_SHIFT;

		// reset width average
		widthAvgCalc = 0;

		// add all width registers
		for(int i = 0; i < (WIDTH_SHIFT); i++){
			widthAvgCalc += analogInAvg[i][3];
		}

		// divide by the registers
		widthAvg = widthAvgCalc / WIDTH_SHIFT;

		// calculate battery voltage
		if (voltageAvg > 0){
			voltageBattery = (((float)MAX_BATTERY_VOLTAGE / 4095.0) * (float)voltageAvg); // to be verified
		}
		else{
			voltageBattery = 0;
		}

		// calculate battery current
		if (currentAvg > 0){
			currentBattery = (((float)MAX_BATTERY_CURRENT / 4095.0) * (float)currentAvg); // to be verified
		}
		else{
			currentBattery = 0;
		}

		// calculate delay pulse
			// select pulse delay mode
		if(modeDelayPulse == 1){
			delayPulse = ((((float)MAX_PULSE_DELAY / 4095.0) * (float)analogInputs[2]) * (float)STEP_MULTIPLIER_DELAY);//analogInputs[2]); // to be verified 1000 = 1mS  * multiplier
		}
		else{
			delayPulse =(((float) comparePulseAvg / 1000.0) * ((900.0 / 4095.0) * (float)delayAvg)); // rpm percentage delay
		}

		// select pulse width mode
		if(modeWidthPulse == 1){
			// timed width
			widthPulse = ((((float)MAX_PULSE_WIDTH / 4095.0) * (float)widthAvg) * (float)multiplierPid); // to be verified 1000 = 1mS  * multiplier
		}
		else{
			// duty cycle
			widthPulse = (((float)comparePulseAvg / 10000.0) * ((5000.0 / 4095.0) * (((float)widthAvg / 100.0) * (float)multiplierPid)));//(float) analogInputs[3])); // 0-50% duty cycle
		}
	}

/* USER CODE END 4 */

void Error_Handler(void)
{
		__disable_irq();
		while (1)
		{
		}
}
